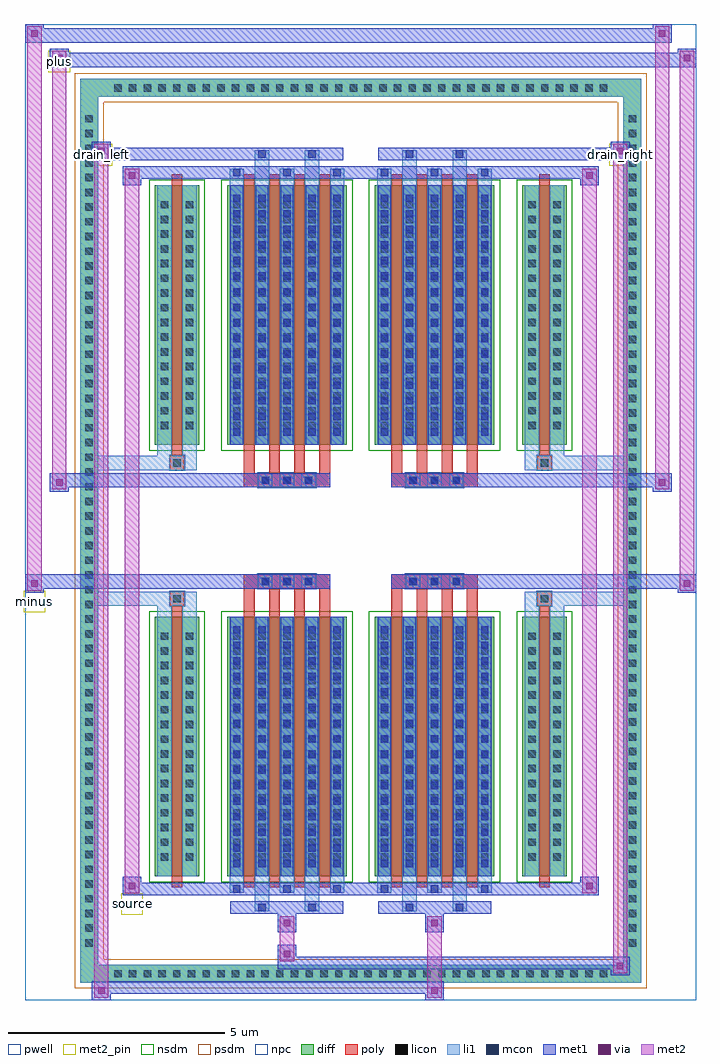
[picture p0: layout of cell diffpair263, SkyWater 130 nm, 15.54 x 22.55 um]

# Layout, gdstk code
import gdstk
lib = gdstk.Library(unit=1e-6, precision=5e-09)
def R(c, l, rs):  # rectangles x0, y0, x1, y1
    for r in rs: c.add(gdstk.rectangle(r[:2], r[2:], *l))
def A(c, l, x, y, w, h, nx, ny, dx, dy):  # array of equal rectangles
    R(c, l, [(x+i*dx, y+j*dy, x+i*dx+w, y+j*dy+h) for i in range(nx) for j in range(ny)])
def P(c, l, *ps):  # polygons
    for p in ps: c.add(gdstk.Polygon(p, *l))
pwell = (64, 44)
diff = (65, 20)
poly = (66, 20)
licon = (66, 44)
li1 = (67, 20)
mcon = (67, 44)
met1 = (68, 20)
via = (68, 44)
met2_pin = (69, 16)
met2 = (69, 20)
nsdm = (93, 44)
psdm = (94, 20)
npc = (95, 20)

diffpair263 = lib.new_cell('diffpair263')
R(diffpair263, pwell, [(-7.75,-10.84,7.75,11.71), (-5.07,-9.03,-0.01,-0.805), (0.01,-9.03,5.07,-0.805), (-5.07,0.805,-0.01,9.03), (0.01,0.805,5.07,9.03)])
A(diffpair263, diff, -5.815, -10.44, 0.41, 0.41, 34, 2, 0.34, 20.47)
A(diffpair263, diff, -6.48, -9.725, 0.41, 0.41, 1, 57, 0, 0.34)
A(diffpair263, diff, 6.07, -9.725, 0.41, 0.41, 1, 57, 0, 0.34)
R(diffpair263, diff, [(-5.815,-10.44,5.815,-10.03), (-6.48,-9.725,-6.07,9.725), (6.07,-9.725,6.48,9.725), (-4.76,-7.985,-3.73,-1.985), (-3.09,-7.985,-0.32,-1.985), (0.32,-7.985,3.09,-1.985), (3.73,-7.985,4.76,-1.985), (-4.76,1.985,-3.73,7.985), (-3.09,1.985,-0.32,7.985), (0.32,1.985,3.09,7.985), (3.73,1.985,4.76,7.985), (-5.815,10.03,5.815,10.44)])
P(diffpair263, diff, [(6.48,10.44),(-6.48,10.44),(-6.48,-10.03),(-6.07,-10.03),(-6.07,10.03),(6.07,10.03),(6.07,-10.03),(-6.07,-10.03),(-6.48,-10.03),(-6.48,-10.44),(6.48,-10.44)])
A(diffpair263, poly, -2.7, -8.235, 0.25, 6.5, 4, 2, 0.58, 9.97)
A(diffpair263, poly, 0.71, -8.235, 0.25, 6.5, 4, 2, 0.58, 9.97)
A(diffpair263, poly, -2.7, -1.735, 0.25, 0.4, 4, 2, 0.58, 3.07)
A(diffpair263, poly, 0.71, -1.735, 0.25, 0.4, 4, 2, 0.58, 3.07)
A(diffpair263, poly, -2.37, -1.335, 0.33, 0.33, 3, 2, 0.5, 2.34)
A(diffpair263, poly, 1.04, -1.335, 0.33, 0.33, 3, 2, 0.5, 2.34)
R(diffpair263, poly, [(-4.37,-8.235,-4.12,-1.735), (4.12,-8.235,4.37,-1.735), (-4.41,-1.735,-4.08,-1.405), (-4.41,-1.735,-4.08,-1.405), (4.08,-1.735,4.41,-1.405), (4.08,-1.735,4.41,-1.405), (-2.7,-1.335,-0.71,-1.005), (0.71,-1.335,2.7,-1.005), (-2.7,1.005,-0.71,1.335), (0.71,1.005,2.7,1.335), (-4.41,1.405,-4.08,1.735), (-4.41,1.405,-4.08,1.735), (4.08,1.405,4.41,1.735), (4.08,1.405,4.41,1.735), (-4.37,1.735,-4.12,8.235), (4.12,1.735,4.37,8.235)])
A(diffpair263, licon, -5.695, -10.32, 0.17, 0.17, 34, 2, 0.34, 20.47)
A(diffpair263, licon, -6.36, -9.605, 0.17, 0.17, 1, 57, 0, 0.34)
A(diffpair263, licon, 6.19, -9.605, 0.17, 0.17, 1, 57, 0, 0.34)
A(diffpair263, licon, -4.62, -7.62, 0.17, 0.17, 1, 16, 0, 0.34)
A(diffpair263, licon, -4.04, -7.62, 0.17, 0.17, 1, 16, 0, 0.34)
A(diffpair263, licon, -2.95, -7.62, 0.17, 0.17, 5, 16, 0.58, 0.34)
A(diffpair263, licon, 0.46, -7.62, 0.17, 0.17, 5, 16, 0.58, 0.34)
A(diffpair263, licon, 3.87, -7.62, 0.17, 0.17, 1, 16, 0, 0.34)
A(diffpair263, licon, 4.45, -7.62, 0.17, 0.17, 1, 16, 0, 0.34)
A(diffpair263, licon, -2.29, -1.255, 0.17, 0.17, 3, 2, 0.5, 2.34)
A(diffpair263, licon, 1.12, -1.255, 0.17, 0.17, 3, 2, 0.5, 2.34)
A(diffpair263, licon, -4.62, 2.35, 0.17, 0.17, 1, 16, 0, 0.34)
A(diffpair263, licon, -4.04, 2.35, 0.17, 0.17, 1, 16, 0, 0.34)
A(diffpair263, licon, -2.95, 2.35, 0.17, 0.17, 5, 16, 0.58, 0.34)
A(diffpair263, licon, 0.46, 2.35, 0.17, 0.17, 5, 16, 0.58, 0.34)
A(diffpair263, licon, 3.87, 2.35, 0.17, 0.17, 1, 16, 0, 0.34)
A(diffpair263, licon, 4.45, 2.35, 0.17, 0.17, 1, 16, 0, 0.34)
R(diffpair263, licon, [(-4.33,-1.655,-4.16,-1.485), (4.16,-1.655,4.33,-1.485), (-4.33,1.485,-4.16,1.655), (4.16,1.485,4.33,1.655)])
A(diffpair263, li1, -5.775, -10.4, 0.33, 0.33, 34, 2, 0.34, 20.47)
A(diffpair263, li1, -6.44, -9.685, 0.33, 0.33, 1, 57, 0, 0.34)
A(diffpair263, li1, 6.11, -9.685, 0.33, 0.33, 1, 57, 0, 0.34)
A(diffpair263, li1, -3.03, -8.36, 0.33, 0.375, 3, 2, 1.16, 16.345)
A(diffpair263, li1, -2.95, -8.36, 0.17, 0.17, 3, 2, 1.16, 16.55)
A(diffpair263, li1, 0.38, -8.36, 0.33, 0.375, 3, 2, 1.16, 16.345)
A(diffpair263, li1, 0.46, -8.36, 0.17, 0.17, 3, 2, 1.16, 16.55)
A(diffpair263, li1, -3.03, -7.985, 0.33, 6, 5, 2, 0.58, 9.97)
A(diffpair263, li1, 0.38, -7.985, 0.33, 6, 5, 2, 0.58, 9.97)
A(diffpair263, li1, -2.95, -7.77, 0.17, 0.17, 5, 16, 0.58, 0.36)
A(diffpair263, li1, -2.95, -7.77, 0.17, 5.57, 5, 2, 0.58, 9.97)
A(diffpair263, li1, 0.46, -7.77, 0.17, 0.17, 5, 16, 0.58, 0.36)
A(diffpair263, li1, 0.46, -7.77, 0.17, 5.57, 5, 2, 0.58, 9.97)
A(diffpair263, li1, -4.7, -7.7, 0.33, 0.33, 1, 16, 0, 0.34)
A(diffpair263, li1, -4.12, -7.7, 0.33, 0.33, 1, 16, 0, 0.34)
A(diffpair263, li1, -3.03, -7.7, 0.33, 0.33, 5, 16, 0.58, 0.34)
A(diffpair263, li1, 0.38, -7.7, 0.33, 0.33, 5, 16, 0.58, 0.34)
A(diffpair263, li1, 3.79, -7.7, 0.33, 0.33, 1, 16, 0, 0.34)
A(diffpair263, li1, 4.37, -7.7, 0.33, 0.33, 1, 16, 0, 0.34)
A(diffpair263, li1, -2.37, -1.335, 0.33, 0.33, 3, 2, 0.5, 2.34)
A(diffpair263, li1, 1.04, -1.335, 0.33, 0.33, 3, 2, 0.5, 2.34)
A(diffpair263, li1, -2.95, 2.2, 0.17, 0.17, 5, 16, 0.58, 0.36)
A(diffpair263, li1, 0.46, 2.2, 0.17, 0.17, 5, 16, 0.58, 0.36)
A(diffpair263, li1, -4.7, 2.27, 0.33, 0.33, 1, 16, 0, 0.34)
A(diffpair263, li1, -4.12, 2.27, 0.33, 0.33, 1, 16, 0, 0.34)
A(diffpair263, li1, -3.03, 2.27, 0.33, 0.33, 5, 16, 0.58, 0.34)
A(diffpair263, li1, 0.38, 2.27, 0.33, 0.33, 5, 16, 0.58, 0.34)
A(diffpair263, li1, 3.79, 2.27, 0.33, 0.33, 1, 16, 0, 0.34)
A(diffpair263, li1, 4.37, 2.27, 0.33, 0.33, 1, 16, 0, 0.34)
R(diffpair263, li1, [(-6.48,-10.44,-6.07,-10.03), (-6.48,-10.44,-6.07,-10.03), (-6.07,-10.44,6.07,-10.03), (6.07,-10.44,6.48,-10.03), (6.07,-10.44,6.48,-10.03), (-6.48,-10.03,-6.07,10.03), (6.07,-10.03,6.48,10.03), (-2.45,-8.79,-2.12,-7.985), (-2.37,-8.79,-2.2,-8.62), (-1.29,-8.79,-0.96,-7.985), (-1.21,-8.79,-1.04,-8.62), (0.96,-8.79,1.29,-7.985), (1.04,-8.79,1.21,-8.62), (2.12,-8.79,2.45,-7.985), (2.2,-8.79,2.37,-8.62), (-4.7,-7.985,-4.37,-1.985), (-4.12,-7.985,-3.79,-1.985), (3.79,-7.985,4.12,-1.985), (4.37,-7.985,4.7,-1.985), (-4.7,-1.985,-4.37,-1.405), (-4.12,-1.985,-3.79,-1.405), (3.79,-1.985,4.12,-1.405), (4.37,-1.985,4.7,-1.405), (-6.48,-1.735,-4.41,-1.405), (-4.7,-1.735,-4.41,-1.405), (-4.41,-1.735,-4.08,-1.405), (-4.08,-1.735,-3.79,-1.405), (3.79,-1.735,4.08,-1.405), (4.08,-1.735,4.41,-1.405), (4.08,-1.735,6.48,-1.405), (4.41,-1.735,4.7,-1.405), (-6.48,1.405,-4.41,1.735), (-4.7,1.405,-4.41,1.735), (-4.7,1.405,-4.37,1.985), (-4.41,1.405,-4.08,1.735), (-4.12,1.405,-3.79,1.985), (-4.08,1.405,-3.79,1.735), (3.79,1.405,4.08,1.735), (3.79,1.405,4.12,1.985), (4.08,1.405,4.41,1.735), (4.08,1.405,6.48,1.735), (4.37,1.405,4.7,1.985), (4.41,1.405,4.7,1.735), (-4.7,1.985,-4.37,7.985), (-4.12,1.985,-3.79,7.985), (3.79,1.985,4.12,7.985), (4.37,1.985,4.7,7.985), (-2.45,7.985,-2.12,8.79), (-1.29,7.985,-0.96,8.79), (0.96,7.985,1.29,8.79), (2.12,7.985,2.45,8.79), (-2.37,8.62,-2.2,8.79), (-1.21,8.62,-1.04,8.79), (1.04,8.62,1.21,8.79), (2.2,8.62,2.37,8.79), (-6.48,10.03,-6.07,10.44), (-6.48,10.03,-6.07,10.44), (-6.07,10.03,6.07,10.44), (6.07,10.03,6.48,10.44), (6.07,10.03,6.48,10.44)])
A(diffpair263, mcon, -2.95, -8.36, 0.17, 0.17, 3, 2, 1.16, 16.55)
A(diffpair263, mcon, 0.46, -8.36, 0.17, 0.17, 3, 2, 1.16, 16.55)
A(diffpair263, mcon, -2.95, -7.77, 0.17, 0.17, 5, 16, 0.58, 0.36)
A(diffpair263, mcon, 0.46, -7.77, 0.17, 0.17, 5, 16, 0.58, 0.36)
A(diffpair263, mcon, -2.29, -1.255, 0.17, 0.17, 3, 2, 0.5, 2.34)
A(diffpair263, mcon, 1.12, -1.255, 0.17, 0.17, 3, 2, 0.5, 2.34)
A(diffpair263, mcon, -2.95, 2.2, 0.17, 0.17, 5, 16, 0.58, 0.36)
A(diffpair263, mcon, 0.46, 2.2, 0.17, 0.17, 5, 16, 0.58, 0.36)
R(diffpair263, mcon, [(-2.37,-8.79,-2.2,-8.62), (-1.21,-8.79,-1.04,-8.62), (1.04,-8.79,1.21,-8.62), (2.2,-8.79,2.37,-8.62), (-2.37,8.62,-2.2,8.79), (-1.21,8.62,-1.04,8.79), (1.04,8.62,1.21,8.79), (2.2,8.62,2.37,8.79)])
A(diffpair263, met1, -3.01, -8.42, 0.29, 0.29, 3, 2, 1.16, 16.55)
A(diffpair263, met1, 0.4, -8.42, 0.29, 0.29, 3, 2, 1.16, 16.55)
A(diffpair263, met1, -3.01, -7.985, 0.29, 6, 5, 2, 0.58, 9.97)
A(diffpair263, met1, 0.4, -7.985, 0.29, 6, 5, 2, 0.58, 9.97)
A(diffpair263, met1, -3.01, -7.83, 0.29, 0.29, 5, 16, 0.58, 0.36)
A(diffpair263, met1, 0.4, -7.83, 0.29, 0.29, 5, 16, 0.58, 0.36)
A(diffpair263, met1, -2.35, -1.315, 0.29, 0.29, 3, 2, 0.5, 2.34)
A(diffpair263, met1, 1.06, -1.315, 0.29, 0.29, 3, 2, 0.5, 2.34)
A(diffpair263, met1, -3.01, 2.14, 0.29, 0.29, 5, 16, 0.58, 0.36)
A(diffpair263, met1, 0.4, 2.14, 0.29, 0.29, 5, 16, 0.58, 0.36)
R(diffpair263, met1, [(-6.21,-10.84,-5.78,-10.41), (1.49,-10.84,1.92,-10.41), (-6.21,-10.7,1.92,-10.41), (5.78,-10.27,6.21,-9.84), (-1.92,-10.13,6.21,-9.84), (-1.92,-9.99,-1.49,-9.56), (-1.92,-9.28,-1.49,-8.85), (1.49,-9.28,1.92,-8.85), (-3.01,-8.85,-0.4,-8.56), (-2.43,-8.85,-2.14,-8.56), (-1.27,-8.85,-0.98,-8.56), (0.4,-8.85,3.01,-8.56), (0.98,-8.85,1.27,-8.56), (2.14,-8.85,2.43,-8.56), (-5.5,-8.42,-5.07,-7.99), (-5.5,-8.42,-3.01,-8.13), (-3.01,-8.42,-0.4,-8.13), (-0.4,-8.42,0.4,-8.13), (0.4,-8.42,3.01,-8.13), (3.01,-8.42,5.5,-8.13), (5.07,-8.42,5.5,-7.99), (-7.75,-1.435,-7.32,-1.005), (7.32,-1.435,7.75,-1.005), (-7.75,-1.335,-0.71,-1.005), (-2.7,-1.335,-0.71,-1.005), (0.71,-1.335,2.7,-1.005), (0.71,-1.335,7.75,-1.005), (-7.18,0.905,-6.75,1.335), (6.75,0.905,7.18,1.335), (-7.18,1.005,-2.7,1.335), (-2.7,1.005,-0.71,1.335), (0.71,1.005,2.7,1.335), (2.7,1.005,7.18,1.335), (-5.5,7.99,-5.07,8.42), (5.07,7.99,5.5,8.42), (-5.5,8.13,-3.01,8.42), (-3.01,8.13,-0.4,8.42), (-0.4,8.13,0.4,8.42), (0.4,8.13,3.01,8.42), (3.01,8.13,5.5,8.42), (-6.21,8.56,-5.78,8.99), (-6.21,8.56,-3.01,8.85), (-3.01,8.56,-0.4,8.85), (-2.43,8.56,-2.14,8.85), (-1.27,8.56,-0.98,8.85), (0.4,8.56,3.01,8.85), (0.98,8.56,1.27,8.85), (2.14,8.56,2.43,8.85), (3.01,8.56,6.21,8.85), (5.78,8.56,6.21,8.99), (-7.18,10.71,-6.75,11.14), (-7.18,10.71,-5.07,11.04), (-5.07,10.71,5.07,11.04), (5.07,10.71,7.75,11.04), (7.32,10.71,7.75,11.14), (-7.75,11.28,-7.32,11.71), (-7.75,11.28,-5.07,11.61), (-5.07,11.28,5.07,11.61), (5.07,11.28,7.18,11.61), (6.75,11.28,7.18,11.71)])
R(diffpair263, via, [(-6.07,-10.7,-5.92,-10.55), (1.63,-10.7,1.78,-10.55), (5.92,-10.13,6.07,-9.98), (-1.78,-9.85,-1.63,-9.7), (-1.78,-9.14,-1.63,-8.99), (1.63,-9.14,1.78,-8.99), (-5.36,-8.28,-5.21,-8.13), (5.21,-8.28,5.36,-8.13), (-7.61,-1.295,-7.46,-1.145), (7.46,-1.295,7.61,-1.145), (-7.04,1.045,-6.89,1.195), (6.89,1.045,7.04,1.195), (-5.36,8.13,-5.21,8.28), (5.21,8.13,5.36,8.28), (-6.07,8.7,-5.92,8.85), (5.92,8.7,6.07,8.85), (-7.04,10.85,-6.89,11), (7.46,10.85,7.61,11), (-7.61,11.42,-7.46,11.57), (6.89,11.42,7.04,11.57)])
R(diffpair263, met2_pin, [(-5.535,-8.87,-5.035,-8.37), (-7.785,-1.885,-7.285,-1.385), (-6.245,8.44,-5.745,8.94), (5.745,8.44,6.245,8.94), (-7.215,10.59,-6.715,11.09)])
R(diffpair263, met2, [(-6.16,-10.79,-5.83,-10.46), (-6.16,-10.79,-5.83,8.94), (1.54,-10.79,1.87,-10.46), (1.54,-10.46,1.87,-9.23), (5.83,-10.22,6.16,-9.89), (5.83,-10.22,6.16,8.94), (-1.87,-9.94,-1.54,-9.61), (-1.87,-9.61,-1.54,-9.23), (-1.87,-9.23,-1.54,-8.9), (1.54,-9.23,1.87,-8.9), (-5.45,-8.37,-5.12,-8.04), (-5.45,-8.37,-5.12,8.37), (5.12,-8.37,5.45,-8.04), (5.12,-8.37,5.45,8.37), (-7.7,-1.385,-7.37,-1.055), (-7.7,-1.385,-7.37,11.66), (7.37,-1.385,7.7,-1.055), (7.37,-1.385,7.7,11.09), (-7.13,0.955,-6.8,1.285), (-7.13,0.955,-6.8,11.09), (6.8,0.955,7.13,1.285), (6.8,0.955,7.13,11.66), (-5.45,8.04,-5.12,8.37), (5.12,8.04,5.45,8.37), (-6.16,8.61,-5.83,8.94), (5.83,8.61,6.16,8.94), (-7.13,10.76,-6.8,11.09), (7.37,10.76,7.7,11.09), (-7.7,11.33,-7.37,11.66), (6.8,11.33,7.13,11.66)])
P(diffpair263, met2, [(7.7,-1.385),(7.7,-1.385),(7.7,-1.055),(7.7,-1.055)],
  [(7.7,10.76),(7.7,10.76),(7.7,11.09),(7.7,11.09)],
  [(-7.37,-1.385),(-7.37,-1.385),(-7.37,-1.055),(-7.37,-1.055)],
  [(-7.37,11.33),(-7.37,11.33),(-7.37,11.66),(-7.37,11.66)],
  [(7.13,0.955),(7.13,0.955),(7.13,1.285),(7.13,1.285)],
  [(7.13,11.33),(7.13,11.33),(7.13,11.66),(7.13,11.66)],
  [(-6.8,0.955),(-6.8,0.955),(-6.8,1.285),(-6.8,1.285)],
  [(-6.8,10.76),(-6.8,10.76),(-6.8,11.09),(-6.8,11.09)],
  [(-5.83,-10.79),(-5.83,-10.79),(-5.83,-10.46),(-5.83,-10.46)],
  [(-5.83,8.61),(-5.83,8.61),(-5.83,8.94),(-5.83,8.94)],
  [(6.16,-10.22),(6.16,-10.22),(6.16,-9.89),(6.16,-9.89)],
  [(6.16,8.61),(6.16,8.61),(6.16,8.94),(6.16,8.94)],
  [(-5.12,-8.37),(-5.12,-8.37),(-5.12,-8.04),(-5.12,-8.04)],
  [(-5.12,8.04),(-5.12,8.04),(-5.12,8.37),(-5.12,8.37)],
  [(5.45,-8.37),(5.45,-8.37),(5.45,-8.04),(5.45,-8.04)],
  [(5.45,8.04),(5.45,8.04),(5.45,8.37),(5.45,8.37)])
R(diffpair263, nsdm, [(-4.89,-8.115,-3.6,-1.855), (-3.22,-8.115,-0.19,-1.855), (0.19,-8.115,3.22,-1.855), (3.6,-8.115,4.89,-1.855), (-4.89,1.855,-3.6,8.115), (-3.22,1.855,-0.19,8.115), (0.19,1.855,3.22,8.115), (3.6,1.855,4.89,8.115)])
P(diffpair263, psdm, [(6.61,10.57),(-6.61,10.57),(-6.61,-9.9),(-5.94,-9.9),(-5.94,9.9),(5.94,9.9),(5.94,-9.9),(-5.94,-9.9),(-6.61,-9.9),(-6.61,-10.57),(6.61,-10.57)])
A(diffpair263, npc, -2.39, -1.355, 0.37, 0.37, 3, 2, 0.5, 2.34)
A(diffpair263, npc, 1.02, -1.355, 0.37, 0.37, 3, 2, 0.5, 2.34)
R(diffpair263, npc, [(-4.43,-1.755,-4.06,-1.385), (4.06,-1.755,4.43,-1.385), (-2.39,-1.355,-1.52,-0.985), (-2.39,-1.355,-1.52,-0.985), (-1.89,-1.355,-1.02,-0.985), (-1.89,-1.355,-1.02,-0.985), (1.02,-1.355,1.89,-0.985), (1.02,-1.355,1.89,-0.985), (1.52,-1.355,2.39,-0.985), (1.52,-1.355,2.39,-0.985), (-2.39,0.985,-1.52,1.355), (-2.39,0.985,-1.52,1.355), (-1.89,0.985,-1.02,1.355), (-1.89,0.985,-1.02,1.355), (1.02,0.985,1.89,1.355), (1.02,0.985,1.89,1.355), (1.52,0.985,2.39,1.355), (1.52,0.985,2.39,1.355), (-4.43,1.385,-4.06,1.755), (4.06,1.385,4.43,1.755)])
diffpair263.add(gdstk.Label('minus', (-7.535,-1.635), layer=69, texttype=5))
diffpair263.add(gdstk.Label('drain_right', (5.995,8.69), layer=69, texttype=5))
diffpair263.add(gdstk.Label('drain_left', (-5.995,8.69), layer=69, texttype=5))
diffpair263.add(gdstk.Label('source', (-5.285,-8.62), layer=69, texttype=5))
diffpair263.add(gdstk.Label('plus', (-6.965,10.84), layer=69, texttype=5))

lib.write_gds('diffpair263.gds')
